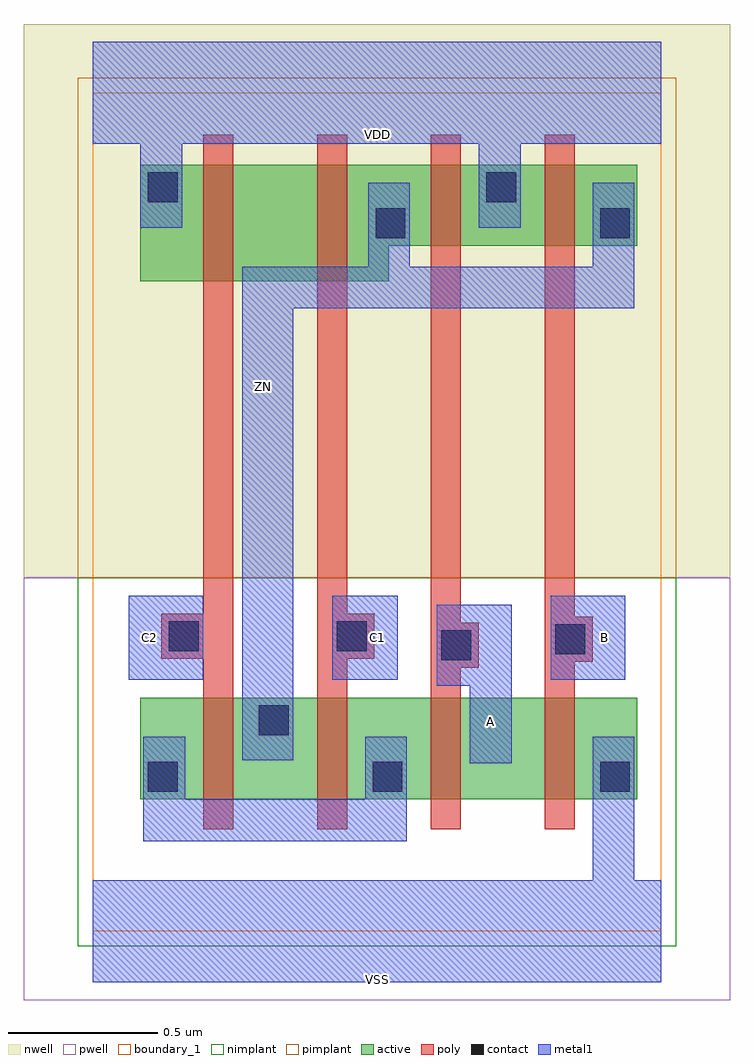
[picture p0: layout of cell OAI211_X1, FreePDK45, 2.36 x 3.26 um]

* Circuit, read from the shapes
.subckt OAI211_X1 A B C1 C2 VDD VSS ZN
M1 ZN C2 n1 VSUBS nfet w=0.34u l=0.1u
M2 n1 C1 ZN VSUBS nfet w=0.34u l=0.1u
M3 n2 A n1 VSUBS nfet w=0.34u l=0.1u
M4 VSS B n2 VSUBS nfet w=0.34u l=0.1u
M5 n3 C2 VDD n4 pfet w=0.39u l=0.1u
M6 ZN C1 n3 n4 pfet w=0.39u l=0.1u
M7 VDD A ZN n4 pfet w=0.27u l=0.1u
M8 ZN B VDD n4 pfet w=0.27u l=0.1u
.ends

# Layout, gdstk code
import gdstk
lib = gdstk.Library(unit=1e-6, precision=1e-09)
def R(c, l, rs):  # rectangles x0, y0, x1, y1
    for r in rs: c.add(gdstk.rectangle(r[:2], r[2:], *l))
def P(c, l, *ps):  # polygons
    for p in ps: c.add(gdstk.Polygon(p, *l))
active = (1, 0)
pwell = (2, 0)
nwell = (3, 0)
nimplant = (4, 0)
pimplant = (5, 0)
poly = (9, 0)
contact = (10, 0)
metal1 = (11, 0)
boundary_1 = (235, 1)

oai211_x1 = lib.new_cell('OAI211_X1')
R(oai211_x1, active, [(0.16,0.44,1.82,0.78)])
P(oai211_x1, active, [(0.16,2.17),(0.99,2.17),(0.99,2.29),(1.82,2.29),(1.82,2.56),(0.16,2.56)])
R(oai211_x1, pwell, [(-0.23,-0.23,2.13,1.18)])
R(oai211_x1, nwell, [(-0.23,1.18,2.13,3.03)])
R(oai211_x1, nimplant, [(-0.05,-0.05,1.95,1.18)])
R(oai211_x1, pimplant, [(-0.05,1.18,1.95,2.85)])
P(oai211_x1, poly, [(1.51,0.34),(1.61,0.34),(1.61,0.9),(1.67,0.9),(1.67,1.05),(1.61,1.05),(1.61,2.66),(1.51,2.66)],
  [(1.13,0.34),(1.23,0.34),(1.23,0.88),(1.29,0.88),(1.29,1.03),(1.23,1.03),(1.23,2.66),(1.13,2.66)],
  [(0.75,0.34),(0.85,0.34),(0.85,0.91),(0.94,0.91),(0.94,1.06),(0.85,1.06),(0.85,2.66),(0.75,2.66)],
  [(0.23,0.91),(0.37,0.91),(0.37,0.34),(0.47,0.34),(0.47,2.66),(0.37,2.66),(0.37,1.06),(0.23,1.06)])
R(oai211_x1, contact, [(0.185,0.465,0.285,0.565), (0.935,0.465,1.035,0.565), (1.695,0.465,1.795,0.565), (0.555,0.655,0.655,0.755), (1.165,0.905,1.265,1.005), (1.545,0.925,1.645,1.025), (0.255,0.935,0.355,1.035), (0.815,0.935,0.915,1.035), (0.945,2.315,1.045,2.415), (1.695,2.315,1.795,2.415), (0.185,2.435,0.285,2.535), (1.315,2.435,1.415,2.535)])
R(oai211_x1, metal1, [(0.12,0.84,0.37,1.12), (0.12,0.84,0.37,1.12), (0.8,0.84,1.02,1.12), (0.8,0.84,1.02,1.12), (1.53,0.84,1.78,1.12), (1.53,0.84,1.78,1.12)])
P(oai211_x1, metal1, [(0.5,0.57),(0.67,0.57),(0.67,2.08),(1.81,2.08),(1.81,2.5),(1.67,2.5),(1.67,2.22),(1.06,2.22),(1.06,2.5),(0.92,2.5),(0.92,2.22),(0.5,2.22)],
  [(0,-0.17),(1.9,-0.17),(1.9,0.17),(1.81,0.17),(1.81,0.65),(1.67,0.65),(1.67,0.17),(0,0.17)],
  [(0,2.63),(0.16,2.63),(0.16,2.35),(0.3,2.35),(0.3,2.63),(1.29,2.63),(1.29,2.35),(1.43,2.35),(1.43,2.63),(1.9,2.63),(1.9,2.97),(0,2.97)],
  [(1.15,0.82),(1.26,0.82),(1.26,0.56),(1.4,0.56),(1.4,1.09),(1.15,1.09)],
  [(0,2.63),(0.16,2.63),(0.16,2.35),(0.3,2.35),(0.3,2.63),(1.29,2.63),(1.29,2.35),(1.43,2.35),(1.43,2.63),(1.9,2.63),(1.9,2.97),(0,2.97)],
  [(0,-0.17),(1.9,-0.17),(1.9,0.17),(1.81,0.17),(1.81,0.65),(1.67,0.65),(1.67,0.17),(0,0.17)],
  [(0.5,0.57),(0.67,0.57),(0.67,2.08),(1.81,2.08),(1.81,2.5),(1.67,2.5),(1.67,2.22),(1.06,2.22),(1.06,2.5),(0.92,2.5),(0.92,2.22),(0.5,2.22)],
  [(1.15,0.82),(1.26,0.82),(1.26,0.56),(1.4,0.56),(1.4,1.09),(1.15,1.09)],
  [(0.17,0.3),(1.05,0.3),(1.05,0.65),(0.91,0.65),(0.91,0.44),(0.31,0.44),(0.31,0.65),(0.17,0.65)])
R(oai211_x1, boundary_1, [(0,0,1.9,2.8)])
oai211_x1.add(gdstk.Label('ZN', (0.57,1.82), layer=11, texttype=0))
oai211_x1.add(gdstk.Label('VSS', (0.95,-0.16), layer=11, texttype=0))
oai211_x1.add(gdstk.Label('VDD', (0.95,2.66), layer=11, texttype=0))
oai211_x1.add(gdstk.Label('C2', (0.19,0.98), layer=11, texttype=0))
oai211_x1.add(gdstk.Label('C1', (0.95,0.98), layer=11, texttype=0))
oai211_x1.add(gdstk.Label('B', (1.71,0.98), layer=11, texttype=0))
oai211_x1.add(gdstk.Label('A', (1.33,0.7), layer=11, texttype=0))

lib.write_gds('OAI211_X1.gds')
